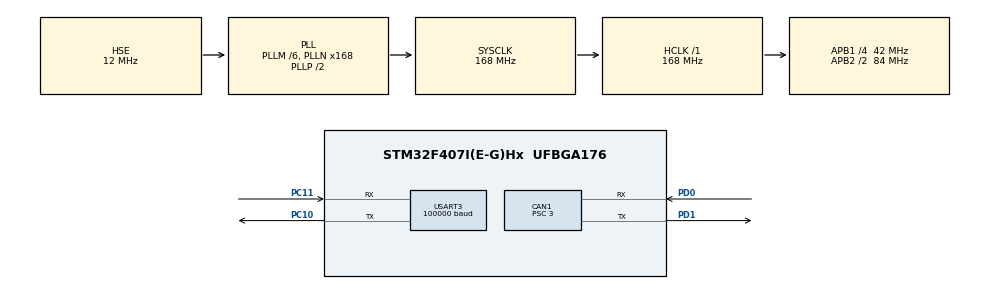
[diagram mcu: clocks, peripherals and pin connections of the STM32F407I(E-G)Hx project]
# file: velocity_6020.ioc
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CAN1.ABOM=DISABLE
CAN1.BS1=CAN_BS1_10TQ
CAN1.BS2=CAN_BS2_3TQ
CAN1.CalculateBaudRate=1000000
CAN1.CalculateTimeBit=1000
CAN1.CalculateTimeQuantum=71.42857142857143
CAN1.Prescaler=3
Dma.Request0=USART3_RX
Dma.USART3_RX.0.Direction=DMA_PERIPH_TO_MEMORY
Dma.USART3_RX.0.FIFOMode=DMA_FIFOMODE_DISABLE
Dma.USART3_RX.0.Instance=DMA1_Stream1
Dma.USART3_RX.0.MemDataAlignment=DMA_MDATAALIGN_BYTE
Dma.USART3_RX.0.MemInc=DMA_MINC_ENABLE
Dma.USART3_RX.0.Mode=DMA_CIRCULAR
Dma.USART3_RX.0.PeriphDataAlignment=DMA_PDATAALIGN_BYTE
Dma.USART3_RX.0.PeriphInc=DMA_PINC_DISABLE
Dma.USART3_RX.0.Priority=DMA_PRIORITY_VERY_HIGH
Mcu.Family=STM32F4
Mcu.Name=STM32F407I(E-G)Hx
Mcu.Package=UFBGA176
NVIC.CAN1_RX0_IRQn=true\:0\:0\:false\:false\:true\:true\:true\:true
NVIC.DMA1_Stream1_IRQn=true\:0\:0\:false\:false\:true\:false\:true\:true
NVIC.PriorityGroup=NVIC_PRIORITYGROUP_4
NVIC.USART3_IRQn=true\:0\:0\:false\:false\:true\:true\:true\:true
PA13.Mode=Serial_Wire
PA13.Signal=SYS_JTMS-SWDIO
PA14.Mode=Serial_Wire
PA14.Signal=SYS_JTCK-SWCLK
PC10.Mode=Asynchronous
PC10.Signal=USART3_TX
PC11.Mode=Asynchronous
PC11.Signal=USART3_RX
PC14-OSC32_IN.Mode=LSE-External-Oscillator
PC14-OSC32_IN.Signal=RCC_OSC32_IN
PC15-OSC32_OUT.Mode=LSE-External-Oscillator
PC15-OSC32_OUT.Signal=RCC_OSC32_OUT
PD0.Mode=CAN_Activate
PD0.Signal=CAN1_RX
PD1.Mode=CAN_Activate
PD1.Signal=CAN1_TX
PH0-OSC_IN.Mode=HSE-External-Oscillator
PH0-OSC_IN.Signal=RCC_OSC_IN
PH1-OSC_OUT.Mode=HSE-External-Oscillator
PH1-OSC_OUT.Signal=RCC_OSC_OUT
ProjectManager.HeapSize=0x200
ProjectManager.StackSize=0x400
ProjectManager.TargetToolchain=MDK-ARM V5.32
RCC.48MHZClocksFreq_Value=84000000
RCC.AHBFreq_Value=168000000
RCC.APB1CLKDivider=RCC_HCLK_DIV4
RCC.APB1Freq_Value=42000000
RCC.APB1TimFreq_Value=84000000
RCC.APB2CLKDivider=RCC_HCLK_DIV2
RCC.APB2Freq_Value=84000000
RCC.APB2TimFreq_Value=168000000
RCC.CortexFreq_Value=168000000
RCC.HCLKFreq_Value=168000000
RCC.HSE_VALUE=12000000
RCC.HSI_VALUE=16000000
RCC.PLLM=6
RCC.PLLN=168
RCC.PLLSourceVirtual=RCC_PLLSOURCE_HSE
RCC.SYSCLKFreq_VALUE=168000000
RCC.SYSCLKSource=RCC_SYSCLKSOURCE_PLLCLK
RCC.VCOOutputFreq_Value=336000000
USART3.BaudRate=100000
USART3.Parity=PARITY_EVEN
USART3.VirtualMode=VM_ASYNC
USART3.WordLength=WORDLENGTH_9B
board=custom

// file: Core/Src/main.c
/* USER CODE BEGIN Header */
/**
  ******************************************************************************
  * @file           : main.c
  * @brief          : Main program body
  ******************************************************************************
  * @attention
  *
  * Copyright (c) 2025 STMicroelectronics.
  * All rights reserved.
  *
  * This software is licensed under terms that can be found in the LICENSE file
  * in the root directory of this software component.
  * If no LICENSE file comes with this software, it is provided AS-IS.
  *
  ******************************************************************************
  */
/* USER CODE END Header */
#include "main.h"
#include "can.h"
#include "dma.h"
#include "usart.h"
#include "gpio.h"

/* USER CODE BEGIN Includes */
#include "GM6020.h"
#include "rc_can.h"
#include "pid.h"
#include "DBUS.h"
/* USER CODE END Includes */

/* USER CODE BEGIN PV */
rc_t rc_6020;
uint8_t target_Torque[8];
pid_v pid_velocity;
pid_a pid_angle;
int MAX;
int cnt = 0;
rc_info_t rc_ctrl;
/* USER CODE END PV */

void SystemClock_Config(void);

int main(void)
{

  /* MCU Configuration--------------------------------------------------------*/

  /* Reset of all peripherals, Initializes the Flash interface and the Systick. */
  HAL_Init();

  /* Configure the system clock */
  SystemClock_Config();

  /* Initialize all configured peripherals */
  MX_GPIO_Init();
  MX_DMA_Init();
  MX_CAN1_Init();
  MX_USART3_UART_Init();
  /* USER CODE BEGIN 2 */
  Filter_Init();
  pid_velocity_init(&pid_velocity, 35, 17.5, 9, 20000);
  pid_angle_init(&pid_angle, 1.1, 0, 0, 20000);
  HAL_UART_Receive_DMA(&huart3, rx_data, 18);
  /* USER CODE END 2 */

  /* Infinite loop */
  /* USER CODE BEGIN WHILE */
  while (1)
  {
//    angle += 3.14 / 500;
//    if (angle  >= 6.28){
//        angle = 0.0;
//        cnt++;
//    }
//    if(angle <= 1.57 ){
//        pid_angle.target_angle = 682 * sin(angle) + 682 * cnt;
//	}
//	if(cnt >= 8){
//        cnt = 0;
//	}

//	cnt++;
//	if (cnt % 1000 == 0) {
//		pid_angle.target_angle += 682;
//	}
//	if (pid_angle.target_angle >= 8184){
//		pid_angle .target_angle = 0.0f;
//		cnt = 0;
//	}
//  control(&rc_ctrl, &pid_angle.target_angle);
    pid_angle_control(&pid_angle, rc_6020.current_angle, pid_angle.target_angle);

    pid_velocity.target_speed = pid_angle.PID_angle_out;

    pid_velocity_control(&pid_velocity, rc_6020.current_speed, pid_velocity.target_speed);

    GM6020_Control(pid_velocity.PID_velocity_out);
    HAL_Delay(1);
    /* USER CODE END WHILE */

  }
}

void SystemClock_Config(void)
{
  RCC_OscInitTypeDef RCC_OscInitStruct = {0};
  RCC_ClkInitTypeDef RCC_ClkInitStruct = {0};

  /** Configure the main internal regulator output voltage
  */
  __HAL_RCC_PWR_CLK_ENABLE();
  __HAL_PWR_VOLTAGESCALING_CONFIG(PWR_REGULATOR_VOLTAGE_SCALE1);

  /** Initializes the RCC Oscillators according to the specified parameters
  * in the RCC_OscInitTypeDef structure.
  */
  RCC_OscInitStruct.OscillatorType = RCC_OSCILLATORTYPE_HSE;
  RCC_OscInitStruct.HSEState = RCC_HSE_ON;
  RCC_OscInitStruct.PLL.PLLState = RCC_PLL_ON;
  RCC_OscInitStruct.PLL.PLLSource = RCC_PLLSOURCE_HSE;
  RCC_OscInitStruct.PLL.PLLM = 6;
  RCC_OscInitStruct.PLL.PLLN = 168;
  RCC_OscInitStruct.PLL.PLLP = RCC_PLLP_DIV2;
  RCC_OscInitStruct.PLL.PLLQ = 4;
  if (HAL_RCC_OscConfig(&RCC_OscInitStruct) != HAL_OK)
  {
    Error_Handler();
  }

  /** Initializes the CPU, AHB and APB buses clocks
  */
  RCC_ClkInitStruct.ClockType = RCC_CLOCKTYPE_HCLK|RCC_CLOCKTYPE_SYSCLK
                              |RCC_CLOCKTYPE_PCLK1|RCC_CLOCKTYPE_PCLK2;
  RCC_ClkInitStruct.SYSCLKSource = RCC_SYSCLKSOURCE_PLLCLK;
  RCC_ClkInitStruct.AHBCLKDivider = RCC_SYSCLK_DIV1;
  RCC_ClkInitStruct.APB1CLKDivider = RCC_HCLK_DIV4;
  RCC_ClkInitStruct.APB2CLKDivider = RCC_HCLK_DIV2;

  if (HAL_RCC_ClockConfig(&RCC_ClkInitStruct, FLASH_LATENCY_5) != HAL_OK)
  {
    Error_Handler();
  }
}

void Error_Handler(void)
{
  __disable_irq();
  while (1)
  {
  }
}
